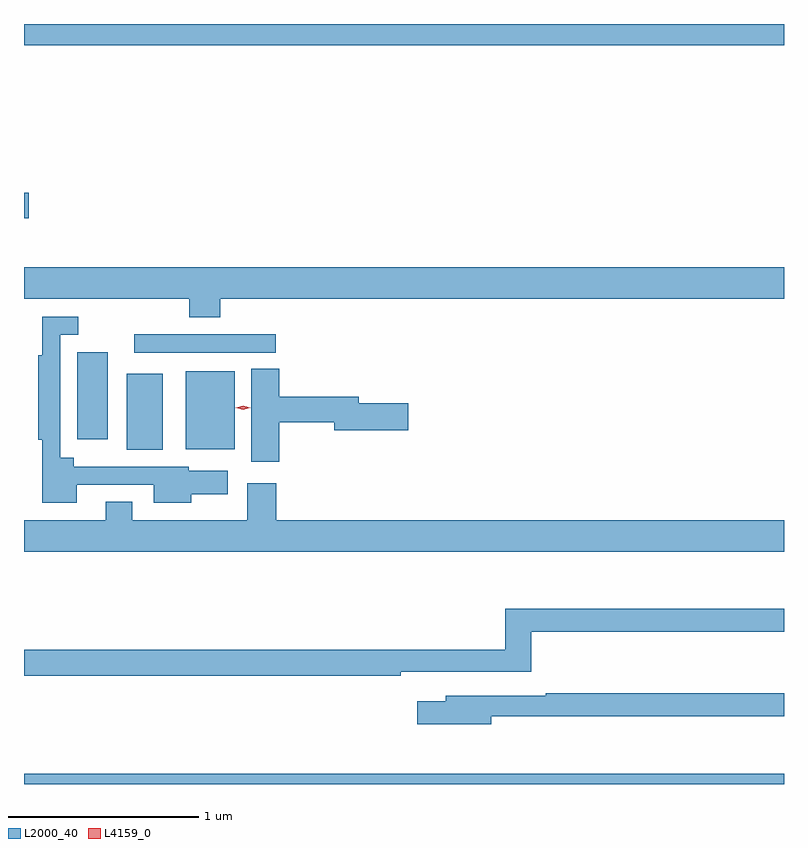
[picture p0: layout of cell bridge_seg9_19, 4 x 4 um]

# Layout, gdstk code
import gdstk
lib = gdstk.Library(unit=1e-6, precision=1e-09)
def R(c, l, rs):  # rectangles x0, y0, x1, y1
    for r in rs: c.add(gdstk.rectangle(r[:2], r[2:], *l))
def P(c, l, *ps):  # polygons
    for p in ps: c.add(gdstk.Polygon(p, *l))
L2000_40 = (2000, 40)
L4159_0 = (4159, 0)

bridge_seg9_19 = lib.new_cell('bridge_seg9_19')
R(bridge_seg9_19, L2000_40, [(1004.424,1211.181,1008.424,1211.236), (1004.966,1212.941,1005.154,1213.339), (1005.275,1212.944,1005.532,1213.354), (1004.705,1212.996,1004.866,1213.453), (1005.003,1213.452,1005.748,1213.548), (1004.424,1214.159,1004.449,1214.294), (1004.424,1215.068,1008.424,1215.181)])
P(bridge_seg9_19, L2000_40, [(1005.458,1213.736),(1008.424,1213.736),(1008.424,1213.9),(1004.424,1213.9),(1004.424,1213.736),(1005.293,1213.736),(1005.293,1213.637),(1005.458,1213.637)],
  [(1004.701,1212.756),(1005.107,1212.756),(1005.107,1212.662),(1005.303,1212.662),(1005.303,1212.707),(1005.496,1212.707),(1005.496,1212.829),(1005.291,1212.829),(1005.291,1212.852),(1004.686,1212.852),(1004.686,1212.898),(1004.616,1212.898),(1004.616,1213.545),(1004.71,1213.545),(1004.71,1213.641),(1004.519,1213.641),(1004.519,1213.438),(1004.5,1213.438),(1004.5,1212.994),(1004.519,1212.994),(1004.519,1212.662),(1004.701,1212.662)],
  [(1005.767,1213.084),(1006.058,1213.084),(1006.058,1213.042),(1006.447,1213.042),(1006.447,1213.184),(1006.186,1213.184),(1006.186,1213.22),(1005.767,1213.22),(1005.767,1213.367),(1005.62,1213.367),(1005.62,1212.876),(1005.767,1212.876)],
  [(1008.424,1212.568),(1005.752,1212.568),(1005.752,1212.763),(1005.599,1212.763),(1005.599,1212.568),(1004.995,1212.568),(1004.995,1212.667),(1004.855,1212.667),(1004.855,1212.568),(1004.424,1212.568),(1004.424,1212.404),(1008.424,1212.404)],
  [(1006.406,1211.772),(1007.093,1211.772),(1007.093,1211.982),(1008.424,1211.982),(1008.424,1212.103),(1006.957,1212.103),(1006.957,1211.888),(1004.424,1211.888),(1004.424,1211.752),(1006.406,1211.752)],
  [(1006.882,1211.538),(1008.424,1211.538),(1008.424,1211.659),(1007.17,1211.659),(1007.17,1211.646),(1006.643,1211.646),(1006.643,1211.617),(1006.494,1211.617),(1006.494,1211.495),(1006.882,1211.495)])
P(bridge_seg9_19, L4159_0, [(1005.577,1213.151),(1005.539,1213.161),(1005.539,1213.161),(1005.539,1213.161),(1005.577,1213.171),(1005.614,1213.161),(1005.615,1213.161),(1005.614,1213.161)])

lib.write_gds('bridge_seg9_19.gds')
